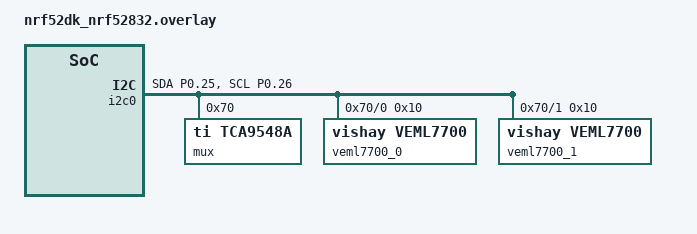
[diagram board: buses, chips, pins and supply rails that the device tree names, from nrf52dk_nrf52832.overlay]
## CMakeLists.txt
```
cmake_minimum_required(VERSION 3.20.0)
find_package(Zephyr REQUIRED HINTS $ENV{ZEPHYR_BASE})

project(example_tca9548)

#add libraries
#include_directories(include)
#add_library(Adafruit_VEML7700 STATIC lib/Adafruit_VEML7700.cpp)
#add_library(simple_math STATIC lib/simple_math.c)

target_sources(app PRIVATE src/main.c)
#target_link_libraries(app PRIVATE simple_math)
```

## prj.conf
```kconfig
CONFIG_LOG_PRINTK=n
CONFIG_LOG_BACKEND_RTT=y
CONFIG_LOG=y
CONFIG_LOG_BACKEND_UART=y
CONFIG_PRINTK=y

CONFIG_SPI=y
CONFIG_I2C=y
CONFIG_SENSOR=y
CONFIG_GPIO=y

CONFIG_VEML7700=y
CONFIG_CBPRINTF_FP_SUPPORT=y

# For TCA9548
CONFIG_I2C_TCA954X=y
CONFIG_I2C_TCA954X_ROOT_INIT_PRIO=61
CONFIG_I2C_TCA954X_CHANNEL_INIT_PRIO=62
```

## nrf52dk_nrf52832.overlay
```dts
// To get started, press Ctrl+Space to bring up the completion menu and view the available nodes.

// You can also use the buttons in the sidebar to perform actions on nodes.
// Actions currently available include:

// * Enabling / disabling the node
// * Adding the bus to a bus
// * Removing the node
// * Connecting ADC channels

// For more help, browse the DeviceTree documentation at https://docs.zephyrproject.org/latest/guides/dts/index.html
// You can also visit the nRF DeviceTree extension documentation at https://nrfconnect.github.io/vscode-nrf-connect/devicetree/nrfdevicetree.html

&i2c0 {
    status = "okay";
	compatible = "nordic,nrf-twim";
    pinctrl-0 = <&i2c0_default>;
	pinctrl-1 = <&i2c0_sleep>;
	pinctrl-names = "default", "sleep";

	mux: tca9548a@70 {
		compatible = "ti,tca9548a";
		reg = <0x70>;
		status = "okay";
		#address-cells = <1>;
		#size-cells = <0>;

		ch0: mux_i2c@0 {
			compatible = "ti,tca9548a-channel";
			reg = <0>;
			#address-cells = <1>;
			#size-cells = <0>;
			veml7700_0:veml7700@10{
				compatible = "vishay,veml7700";
				reg = <0x10>;
			};
		};

		ch1: mux_i2c@1 {
			compatible = "ti,tca9548a-channel";
			reg = <1>;
			#address-cells = <1>;
			#size-cells = <0>;
			veml7700_1:veml7700@10{
				compatible = "vishay,veml7700";
				reg = <0x10>;
			};
        };
	};
};

&pinctrl{
    i2c0_default: i2c0_default {
		group1 {
			psels = <NRF_PSEL(TWIM_SDA, 0, 25)>,
				<NRF_PSEL(TWIM_SCL, 0, 26)>;
		};
	};

	i2c0_sleep: i2c0_sleep {
		group1 {
			psels = <NRF_PSEL(TWIM_SDA, 0, 25)>,
				<NRF_PSEL(TWIM_SCL, 0, 26)>;
			low-power-enable;
		};
	};
};

&spi0 {
    status = "disabled";
};

/{
	aliases {
		i2c-channel-0 = &ch0;
		i2c-channel-1 = &ch1;
	};
};
```

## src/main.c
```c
#include <zephyr/kernel.h>
#include <zephyr/drivers/gpio.h>
#include <zephyr/drivers/sensor.h>
#include <zephyr/drivers/i2c.h>
#include <zephyr/device.h>
#include <zephyr/storage/disk_access.h>
#include <zephyr/logging/log.h>
#include <zephyr/drivers/sensor/veml7700.h> //required for enums

int main(void)
{
	// Section for TCA9548a
	const struct device *veml_0 = DEVICE_DT_GET(DT_NODELABEL(veml7700_0));
	const struct device *veml_1 = DEVICE_DT_GET(DT_NODELABEL(veml7700_1));

	static struct sensor_value lux_0;
	static struct sensor_value lux_1;

	// while loop for data logging
	while (1){
		printk("Start of while loop: \n");
		
		sensor_sample_fetch_chan(veml_0, SENSOR_CHAN_LIGHT);
        sensor_channel_get(veml_0, SENSOR_CHAN_LIGHT, &lux_0);
        printk("lux_0: %d.%03d\n",lux_0.val1, lux_0.val2);

		sensor_sample_fetch_chan(veml_1, SENSOR_CHAN_LIGHT);
        sensor_channel_get(veml_1, SENSOR_CHAN_LIGHT, &lux_1);
        printk("lux_1: %d.%03d\n",lux_1.val1, lux_1.val2);

		k_msleep(2000);
	}

	return 0;
}
```
